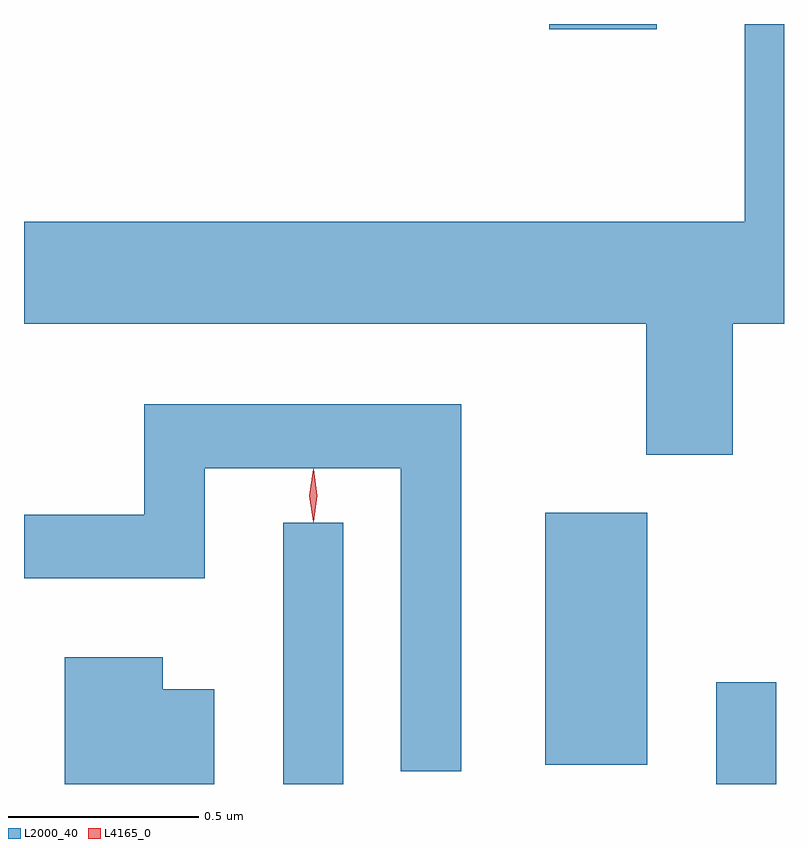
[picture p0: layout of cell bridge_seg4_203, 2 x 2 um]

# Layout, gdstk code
import gdstk
lib = gdstk.Library(unit=1e-6, precision=1e-09)
def R(c, l, rs):  # rectangles x0, y0, x1, y1
    for r in rs: c.add(gdstk.rectangle(r[:2], r[2:], *l))
def P(c, l, *ps):  # polygons
    for p in ps: c.add(gdstk.Polygon(p, *l))
L2000_40 = (2000, 40)
L4165_0 = (4165, 0)

bridge_seg4_203 = lib.new_cell('bridge_seg4_203')
R(bridge_seg4_203, L2000_40, [(1018.206,1317.945,1018.364,1318.633), (1019.346,1317.945,1019.504,1318.213), (1018.896,1317.996,1019.164,1318.659), (1018.906,1319.931,1019.189,1319.945)])
P(bridge_seg4_203, L2000_40, [(1019.389,1319.156),(1019.524,1319.156),(1019.524,1319.945),(1019.421,1319.945),(1019.421,1319.424),(1017.524,1319.424),(1017.524,1319.156),(1019.161,1319.156),(1019.161,1318.811),(1019.389,1318.811)],
  [(1018.674,1318.944),(1017.841,1318.944),(1017.841,1318.654),(1017.524,1318.654),(1017.524,1318.486),(1017.999,1318.486),(1017.999,1318.776),(1018.516,1318.776),(1018.516,1317.978),(1018.674,1317.978)],
  [(1018.024,1318.194),(1017.889,1318.194),(1017.889,1318.279),(1017.631,1318.279),(1017.631,1317.945),(1018.024,1317.945)])
P(bridge_seg4_203, L4165_0, [(1018.285,1318.634),(1018.285,1318.635),(1018.275,1318.704),(1018.285,1318.773),(1018.286,1318.774),(1018.286,1318.773),(1018.296,1318.704),(1018.286,1318.635)])

lib.write_gds('bridge_seg4_203.gds')
